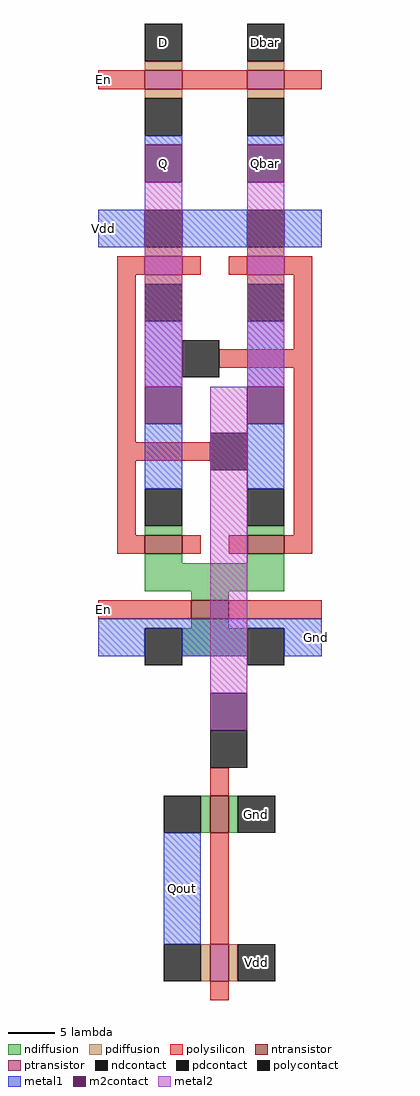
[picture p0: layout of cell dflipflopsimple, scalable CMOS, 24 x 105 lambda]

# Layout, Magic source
magic
tech scmos
<< ntransistor >>
rect -5 -138 -1 -136
rect 6 -138 10 -136
rect 0 -145 4 -143
rect 2 -168 4 -164
<< ptransistor >>
rect -5 -88 -1 -86
rect 6 -88 10 -86
rect -5 -108 -1 -106
rect 6 -108 10 -106
rect 2 -184 4 -180
<< ndiffusion >>
rect -5 -136 -1 -135
rect 6 -136 10 -135
rect -5 -139 -1 -138
rect 6 -139 10 -138
rect -5 -142 10 -139
rect 0 -143 4 -142
rect 0 -146 4 -145
rect -1 -149 6 -146
rect 1 -168 2 -164
rect 4 -168 5 -164
<< pdiffusion >>
rect -5 -86 -1 -85
rect 6 -86 10 -85
rect -5 -89 -1 -88
rect 6 -89 10 -88
rect -5 -106 -1 -105
rect 6 -106 10 -105
rect -5 -109 -1 -108
rect 6 -109 10 -108
rect 1 -184 2 -180
rect 4 -184 5 -180
<< ndcontact >>
rect -5 -135 -1 -131
rect 6 -135 10 -131
rect -5 -150 -1 -146
rect 6 -150 10 -146
rect -3 -168 1 -164
rect 5 -168 9 -164
<< pdcontact >>
rect -5 -85 -1 -81
rect 6 -85 10 -81
rect -5 -93 -1 -89
rect 6 -93 10 -89
rect -5 -105 -1 -101
rect 6 -105 10 -101
rect -5 -113 -1 -109
rect 6 -113 10 -109
rect -3 -184 1 -180
rect 5 -184 9 -180
<< polysilicon >>
rect -10 -88 -5 -86
rect -1 -88 6 -86
rect 10 -88 14 -86
rect -8 -108 -5 -106
rect -1 -108 1 -106
rect 4 -108 6 -106
rect 10 -108 13 -106
rect -8 -126 -6 -108
rect 11 -116 13 -108
rect 3 -118 13 -116
rect -8 -128 2 -126
rect -8 -136 -6 -128
rect 11 -136 13 -118
rect -8 -138 -5 -136
rect -1 -138 1 -136
rect 4 -138 6 -136
rect 10 -138 13 -136
rect -10 -145 0 -143
rect 4 -145 14 -143
rect 2 -164 4 -161
rect 2 -180 4 -168
rect 2 -186 4 -184
<< polycontact >>
rect -1 -119 3 -115
rect 2 -129 6 -125
rect 2 -161 6 -157
<< metal1 >>
rect -5 -94 -1 -93
rect 6 -94 10 -93
rect -10 -105 -5 -101
rect -1 -105 6 -101
rect 10 -105 14 -101
rect -5 -120 -1 -113
rect -5 -131 -1 -124
rect 6 -120 10 -113
rect 6 -131 10 -124
rect -10 -146 14 -145
rect -10 -149 -5 -146
rect -1 -149 6 -146
rect 10 -149 14 -146
rect -3 -180 1 -168
<< m2contact >>
rect -5 -98 -1 -94
rect 6 -98 10 -94
rect -5 -124 -1 -120
rect 6 -124 10 -120
rect 2 -157 6 -153
<< metal2 >>
rect -5 -120 -1 -98
rect 6 -120 10 -98
rect 2 -153 6 -120
<< labels >>
rlabel metal1 13 -149 14 -145 8 Gnd
rlabel metal1 -10 -105 -9 -101 3 Vdd
rlabel m2contact 6 -98 10 -94 1 Qbar
rlabel pdcontact 6 -85 10 -81 1 Dbar
rlabel m2contact -5 -98 -1 -94 3 Q
rlabel pdcontact -5 -85 -1 -81 3 D
rlabel polysilicon -10 -88 -9 -86 3 En
rlabel polysilicon -10 -145 -9 -143 3 En
rlabel metal1 -3 -176 1 -172 1 Qout
rlabel pdcontact 5 -184 9 -180 1 Vdd
rlabel ndcontact 5 -168 9 -164 5 Gnd
<< end >>
